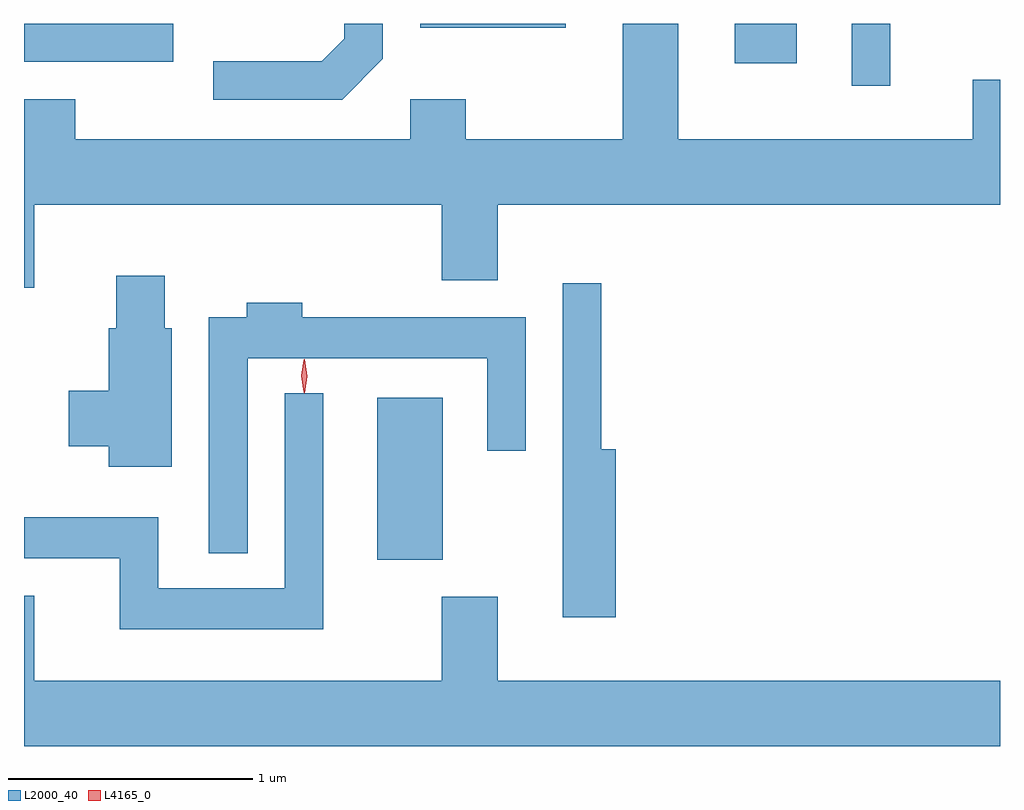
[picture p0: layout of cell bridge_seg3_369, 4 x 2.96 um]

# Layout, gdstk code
import gdstk
lib = gdstk.Library(unit=1e-6, precision=1e-09)
def R(c, l, rs):  # rectangles x0, y0, x1, y1
    for r in rs: c.add(gdstk.rectangle(r[:2], r[2:], *l))
def P(c, l, *ps):  # polygons
    for p in ps: c.add(gdstk.Polygon(p, *l))
L2000_40 = (2000, 40)
L4165_0 = (4165, 0)

bridge_seg3_369 = lib.new_cell('bridge_seg3_369')
R(bridge_seg3_369, L2000_40, [(530.126,1151.201,530.394,1151.864), (532.071,1153.143,532.229,1153.398), (531.591,1153.236,531.844,1153.398), (528.678,1153.241,529.289,1153.398), (530.301,1153.381,530.899,1153.398)])
P(bridge_seg3_369, L2000_40, [(528.719,1152.656),(530.391,1152.656),(530.391,1152.346),(530.619,1152.346),(530.619,1152.656),(532.678,1152.656),(532.678,1153.168),(532.566,1153.168),(532.566,1152.924),(531.359,1152.924),(531.359,1153.398),(531.131,1153.398),(531.131,1152.924),(530.489,1152.924),(530.489,1153.089),(530.261,1153.089),(530.261,1152.924),(528.889,1152.924),(528.889,1153.089),(528.678,1153.089),(528.678,1152.316),(528.719,1152.316)],
  [(530.149,1153.254),(530.149,1153.398),(529.991,1153.398),(529.991,1153.337),(529.899,1153.244),(529.453,1153.244),(529.453,1153.086),(529.982,1153.086)],
  [(529.284,1152.149),(529.254,1152.149),(529.254,1152.364),(529.056,1152.364),(529.056,1152.149),(529.026,1152.149),(529.026,1151.894),(528.861,1151.894),(528.861,1151.666),(529.026,1151.666),(529.026,1151.581),(529.284,1151.581)],
  [(531.104,1151.654),(531.044,1151.654),(531.044,1152.333),(530.886,1152.333),(530.886,1150.966),(531.104,1150.966)],
  [(529.594,1152.026),(530.576,1152.026),(530.576,1151.648),(530.734,1151.648),(530.734,1152.194),(529.819,1152.194),(529.819,1152.254),(529.591,1152.254),(529.591,1152.194),(529.436,1152.194),(529.436,1151.228),(529.594,1151.228)],
  [(529.904,1151.883),(529.746,1151.883),(529.746,1151.084),(529.229,1151.084),(529.229,1151.374),(528.678,1151.374),(528.678,1151.206),(529.071,1151.206),(529.071,1150.916),(529.904,1150.916)],
  [(532.678,1150.704),(530.619,1150.704),(530.619,1151.049),(530.391,1151.049),(530.391,1150.704),(528.719,1150.704),(528.719,1151.054),(528.678,1151.054),(528.678,1150.436),(532.678,1150.436)])
P(bridge_seg3_369, L4165_0, [(529.825,1151.887),(529.824,1151.888),(529.815,1151.954),(529.824,1152.02),(529.825,1152.021),(529.826,1152.02),(529.835,1151.954),(529.826,1151.888)],
  [(529.828,1151.883),(529.827,1151.884),(529.818,1151.953),(529.827,1152.022),(529.828,1152.023),(529.828,1152.022),(529.838,1151.953),(529.828,1151.884)])

lib.write_gds('bridge_seg3_369.gds')
